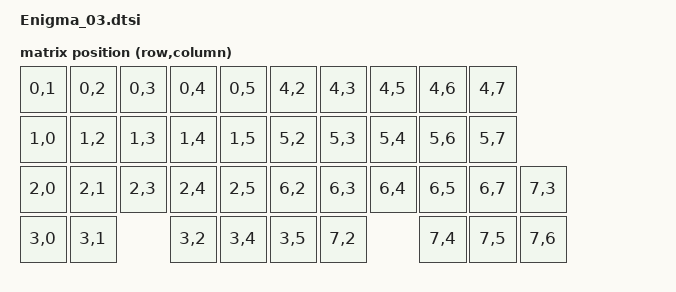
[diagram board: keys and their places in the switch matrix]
#include <dt-bindings/zmk/matrix_transform.h>
#include "Enigma_03_layouts.dtsi"

/ {
    chosen {
        zmk,kscan = &kscan_0;
        zmk,studio-rpc = &studio_usb;
        zmk,physical-layout = &layout_0;
    };

    kscan_0: kscan_0 {
        compatible = "zmk,kscan-gpio-charlieplex";
        interrupt-gpios = <&gpio0 2 (GPIO_ACTIVE_HIGH | GPIO_PULL_DOWN)>;
        gpios = <&gpio0 3 GPIO_ACTIVE_HIGH>,
                <&gpio0 29 GPIO_ACTIVE_HIGH>,
                <&gpio1 15 GPIO_ACTIVE_HIGH>,
                <&gpio0 9 GPIO_ACTIVE_HIGH>,
                <&gpio0 28 GPIO_ACTIVE_HIGH>,
                <&gpio1 11 GPIO_ACTIVE_HIGH>,
                <&gpio1 14 GPIO_ACTIVE_HIGH>,
                <&gpio0 10 GPIO_ACTIVE_HIGH>;
    };

    transform_0: transform_0 {
        compatible = "zmk,matrix-transform";
        rows = <8>;
        columns = <8>;
        map = <
    RC(0,1)  RC(0,2)  RC(0,3)  RC(0,4)  RC(0,5)  RC(4,2)  RC(4,3)  RC(4,5)  RC(4,6)  RC(4,7)
    RC(1,0)  RC(1,2)  RC(1,3)  RC(1,4)  RC(1,5)  RC(5,2)  RC(5,3)  RC(5,4)  RC(5,6)  RC(5,7)
    RC(2,0)  RC(2,1)  RC(2,3)  RC(2,4)  RC(2,5)  RC(6,2)  RC(6,3)  RC(6,4)  RC(6,5)           RC(6,7)  RC(7,3)
    RC(3,0)  RC(3,1)           RC(3,2)  RC(3,4)  RC(3,5)  RC(7,2)                    RC(7,4)  RC(7,5)  RC(7,6)
        >;
    };

    studio_usb: studio_usb {
        compatible = "zmk,studio-rpc-usb-uart";
    };
};
